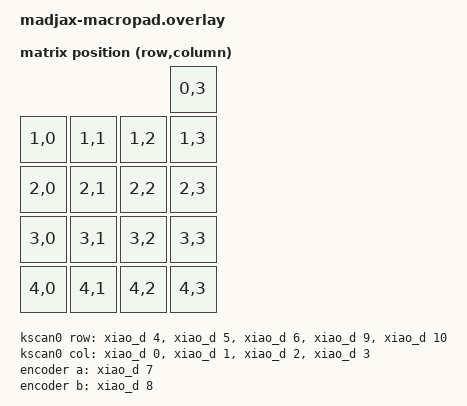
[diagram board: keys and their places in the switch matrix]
#include <dt-bindings/zmk/matrix_transform.h>

/ {
    kscan0: kscan0 {
        compatible = "zmk,kscan-gpio-matrix";
        diode-direction = "col2row";
        wakeup-source;

        col-gpios
            = <&xiao_d 0 GPIO_ACTIVE_HIGH>
            , <&xiao_d 1 GPIO_ACTIVE_HIGH>
            , <&xiao_d 2 GPIO_ACTIVE_HIGH>
            , <&xiao_d 3 GPIO_ACTIVE_HIGH>
            ;

        row-gpios
            = <&xiao_d 4 (GPIO_ACTIVE_HIGH | GPIO_PULL_DOWN)>
            , <&xiao_d 5 (GPIO_ACTIVE_HIGH | GPIO_PULL_DOWN)>
            , <&xiao_d 6 (GPIO_ACTIVE_HIGH | GPIO_PULL_DOWN)>
            , <&xiao_d 9 (GPIO_ACTIVE_HIGH | GPIO_PULL_DOWN)>
            , <&xiao_d 10 (GPIO_ACTIVE_HIGH | GPIO_PULL_DOWN)>
            ;
    };
};

/ {
    default_transform: keymap_transform0 {
        compatible = "zmk,matrix-transform";
        columns = <4>;
        rows = <4>;
        map = <
                                    RC(0,3)
            RC(1,0) RC(1,1) RC(1,2) RC(1,3)
            RC(2,0) RC(2,1) RC(2,2) RC(2,3)
            RC(3,0) RC(3,1) RC(3,2) RC(3,3)
            RC(4,0) RC(4,1) RC(4,2) RC(4,3)
        >;
    };
};

/ {
    default_layout: default_layout {
        compatible = "zmk,physical-layout";
        display-name = "Default Layout";
        transform = <&default_transform>;
        kscan = <&kscan0>;
    };
};

/ {
    chosen {
        zmk,physical-layout = &default_layout;
        // Other chosen items
    };
};

/ {
    encoder: encoder {
        compatible = "alps,ec11";
        a-gpios = <&xiao_d 7 (GPIO_ACTIVE_HIGH | GPIO_PULL_UP)>;
        b-gpios = <&xiao_d 8 (GPIO_ACTIVE_HIGH | GPIO_PULL_UP)>;
        steps = <80>;
        status = "disabled";
    };
};

